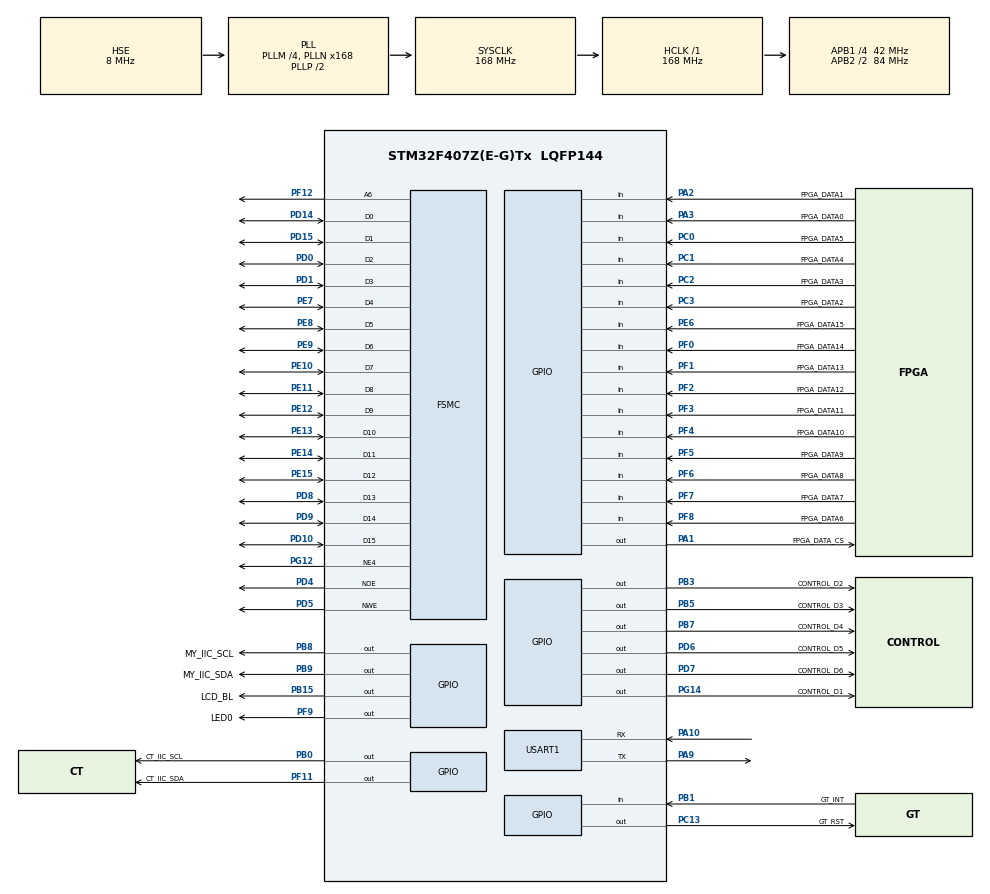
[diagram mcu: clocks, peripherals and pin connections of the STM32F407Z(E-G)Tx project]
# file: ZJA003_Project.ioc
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FSMC.AddressSetupTime4=2
FSMC.DataSetupTime4=5
FSMC.ExtendedAddressSetupTime4=0
FSMC.ExtendedDataSetupTime4=3
FSMC.ExtendedMode4=FSMC_EXTENDED_MODE_ENABLE
Mcu.Family=STM32F4
Mcu.Name=STM32F407Z(E-G)Tx
Mcu.Package=LQFP144
NVIC.PriorityGroup=NVIC_PRIORITYGROUP_4
NVIC.TIM3_IRQn=true\:1\:0\:true\:false\:true\:true\:true
NVIC.TIM4_IRQn=true\:2\:0\:true\:false\:true\:true\:true
NVIC.TIM5_IRQn=true\:3\:0\:true\:false\:true\:true\:true
PA1.GPIO_Label=FPGA_DATA_CS
PA1.GPIO_PuPd=GPIO_PULLUP
PA1.GPIO_Speed=GPIO_SPEED_FREQ_VERY_HIGH
PA1.PinState=GPIO_PIN_SET
PA1.Signal=GPIO_Output
PA10.Mode=Asynchronous
PA10.Signal=USART1_RX
PA13.Mode=Serial_Wire
PA13.Signal=SYS_JTMS-SWDIO
PA14.Mode=Serial_Wire
PA14.Signal=SYS_JTCK-SWCLK
PA2.GPIO_Label=FPGA_DATA1
PA2.Signal=GPIO_Input
PA3.GPIO_Label=FPGA_DATA0
PA3.Signal=GPIO_Input
PA9.Mode=Asynchronous
PA9.Signal=USART1_TX
PB0.GPIO_Label=CT_IIC_SCL
PB0.GPIO_PuPd=GPIO_PULLUP
PB0.GPIO_Speed=GPIO_SPEED_FREQ_VERY_HIGH
PB0.PinState=GPIO_PIN_SET
PB0.Signal=GPIO_Output
PB1.GPIO_Label=GT_INT
PB1.GPIO_PuPd=GPIO_PULLUP
PB1.Signal=GPIO_Input
PB15.GPIO_Label=LCD_BL
PB15.Signal=GPIO_Output
PB3.GPIO_Label=CONTROL_D2
PB3.PinState=GPIO_PIN_SET
PB3.Signal=GPIO_Output
PB5.GPIO_Label=CONTROL_D3
PB5.Signal=GPIO_Output
PB7.GPIO_Label=CONTROL_D4
PB7.PinState=GPIO_PIN_SET
PB7.Signal=GPIO_Output
PB8.GPIO_Label=MY_IIC_SCL
PB8.GPIO_PuPd=GPIO_PULLUP
PB8.GPIO_Speed=GPIO_SPEED_FREQ_HIGH
PB8.PinState=GPIO_PIN_SET
PB8.Signal=GPIO_Output
PB9.GPIO_Label=MY_IIC_SDA
PB9.GPIO_PuPd=GPIO_PULLUP
PB9.GPIO_Speed=GPIO_SPEED_FREQ_HIGH
PB9.PinState=GPIO_PIN_SET
PB9.Signal=GPIO_Output
PC0.GPIO_Label=FPGA_DATA5
PC0.Signal=GPIO_Input
PC1.GPIO_Label=FPGA_DATA4
PC1.Signal=GPIO_Input
PC13-ANTI_TAMP.GPIO_Label=GT_RST
PC13-ANTI_TAMP.GPIO_PuPd=GPIO_PULLUP
PC13-ANTI_TAMP.GPIO_Speed=GPIO_SPEED_FREQ_LOW
PC13-ANTI_TAMP.PinState=GPIO_PIN_RESET
PC13-ANTI_TAMP.Signal=GPIO_Output
PC2.GPIO_Label=FPGA_DATA3
PC2.Signal=GPIO_Input
PC3.GPIO_Label=FPGA_DATA2
PC3.Signal=GPIO_Input
PD0.Signal=FSMC_D2_DA2
PD1.Signal=FSMC_D3_DA3
PD10.Signal=FSMC_D15_DA15
PD14.Signal=FSMC_D0_DA0
PD15.Signal=FSMC_D1_DA1
PD4.Signal=FSMC_NOE
PD5.Signal=FSMC_NWE
PD6.GPIO_Label=CONTROL_D5
PD6.PinState=GPIO_PIN_SET
PD6.Signal=GPIO_Output
PD7.GPIO_Label=CONTROL_D6
PD7.Signal=GPIO_Output
PD8.Signal=FSMC_D13_DA13
PD9.Signal=FSMC_D14_DA14
PE10.Signal=FSMC_D7_DA7
PE11.Signal=FSMC_D8_DA8
PE12.Signal=FSMC_D9_DA9
PE13.Signal=FSMC_D10_DA10
PE14.Signal=FSMC_D11_DA11
PE15.Signal=FSMC_D12_DA12
PE6.GPIO_Label=FPGA_DATA15
PE6.Signal=GPIO_Input
PE7.Signal=FSMC_D4_DA4
PE8.Signal=FSMC_D5_DA5
PE9.Signal=FSMC_D6_DA6
PF0.GPIO_Label=FPGA_DATA14
PF0.Signal=GPIO_Input
PF1.GPIO_Label=FPGA_DATA13
PF1.Signal=GPIO_Input
PF11.GPIO_Label=CT_IIC_SDA
PF11.GPIO_ModeDefaultOutputPP=GPIO_MODE_OUTPUT_PP
PF11.GPIO_PuPd=GPIO_PULLUP
PF11.GPIO_Speed=GPIO_SPEED_FREQ_VERY_HIGH
PF11.PinState=GPIO_PIN_SET
PF11.Signal=GPIO_Output
PF12.Signal=FSMC_A6
PF2.GPIO_Label=FPGA_DATA12
PF2.Signal=GPIO_Input
PF3.GPIO_Label=FPGA_DATA11
PF3.Signal=GPIO_Input
PF4.GPIO_Label=FPGA_DATA10
PF4.Signal=GPIO_Input
PF5.GPIO_Label=FPGA_DATA9
PF5.Signal=GPIO_Input
PF6.GPIO_Label=FPGA_DATA8
PF6.Signal=GPIO_Input
PF7.GPIO_Label=FPGA_DATA7
PF7.Signal=GPIO_Input
PF8.GPIO_Label=FPGA_DATA6
PF8.Signal=GPIO_Input
PF9.GPIO_Label=LED0
PF9.PinState=GPIO_PIN_SET
PF9.Signal=GPIO_Output
PG12.Mode=NorPsramChipSelect4_4
PG12.Signal=FSMC_NE4
PG14.GPIO_Label=CONTROL_D1
PG14.PinState=GPIO_PIN_SET
PG14.Signal=GPIO_Output
PH0-OSC_IN.Mode=HSE-External-Oscillator
PH0-OSC_IN.Signal=RCC_OSC_IN
PH1-OSC_OUT.Mode=HSE-External-Oscillator
PH1-OSC_OUT.Signal=RCC_OSC_OUT
ProjectManager.HeapSize=0x200
ProjectManager.StackSize=0x400
ProjectManager.TargetToolchain=SW4STM32
RCC.48MHZClocksFreq_Value=84000000
RCC.AHBFreq_Value=168000000
RCC.APB1CLKDivider=RCC_HCLK_DIV4
RCC.APB1Freq_Value=42000000
RCC.APB1TimFreq_Value=84000000
RCC.APB2CLKDivider=RCC_HCLK_DIV2
RCC.APB2Freq_Value=84000000
RCC.APB2TimFreq_Value=168000000
RCC.CortexFreq_Value=168000000
RCC.HCLKFreq_Value=168000000
RCC.HSE_VALUE=8000000
RCC.HSI_VALUE=16000000
RCC.LSE_VALUE=32768
RCC.PLLM=4
RCC.PLLN=168
RCC.PLLSourceVirtual=RCC_PLLSOURCE_HSE
RCC.SYSCLKFreq_VALUE=168000000
RCC.SYSCLKSource=RCC_SYSCLKSOURCE_PLLCLK
RCC.VCOOutputFreq_Value=336000000
SH.FSMC_A6.0=FSMC_A6,A6_4
SH.FSMC_D0_DA0.0=FSMC_D0,16b-d4
SH.FSMC_D10_DA10.0=FSMC_D10,16b-d4
SH.FSMC_D11_DA11.0=FSMC_D11,16b-d4
SH.FSMC_D12_DA12.0=FSMC_D12,16b-d4
SH.FSMC_D13_DA13.0=FSMC_D13,16b-d4
SH.FSMC_D14_DA14.0=FSMC_D14,16b-d4
SH.FSMC_D15_DA15.0=FSMC_D15,16b-d4
SH.FSMC_D1_DA1.0=FSMC_D1,16b-d4
SH.FSMC_D2_DA2.0=FSMC_D2,16b-d4
SH.FSMC_D3_DA3.0=FSMC_D3,16b-d4
SH.FSMC_D4_DA4.0=FSMC_D4,16b-d4
SH.FSMC_D5_DA5.0=FSMC_D5,16b-d4
SH.FSMC_D6_DA6.0=FSMC_D6,16b-d4
SH.FSMC_D7_DA7.0=FSMC_D7,16b-d4
SH.FSMC_D8_DA8.0=FSMC_D8,16b-d4
SH.FSMC_D9_DA9.0=FSMC_D9,16b-d4
SH.FSMC_NOE.0=FSMC_NOE,Lcd4
SH.FSMC_NWE.0=FSMC_NWE,Lcd4
TIM3.AutoReloadPreload=TIM_AUTORELOAD_PRELOAD_ENABLE
TIM3.Period=999
TIM3.Prescaler=83
TIM4.AutoReloadPreload=TIM_AUTORELOAD_PRELOAD_ENABLE
TIM4.Period=999
TIM4.Prescaler=839
TIM5.AutoReloadPreload=TIM_AUTORELOAD_PRELOAD_ENABLE
TIM5.Period=8399
TIM5.Prescaler=4999
TIM6.AutoReloadPreload=TIM_AUTORELOAD_PRELOAD_ENABLE
TIM6.Prescaler=83
USART1.VirtualMode=VM_ASYNC
VP_CRC_VS_CRC.Mode=CRC_Activate
VP_TIM3_VS_ClockSourceINT.Mode=Internal
VP_TIM4_VS_ClockSourceINT.Mode=Internal
VP_TIM5_VS_ClockSourceINT.Mode=Internal
VP_TIM6_VS_ClockSourceINT.Mode=Enable_Timer
board=custom

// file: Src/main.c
/* USER CODE BEGIN Header */
/**
  ******************************************************************************
  * @file           : main.c
  * @brief          : Main program body
  ******************************************************************************
  * @attention
  *
  * <h2><center>&copy; Copyright (c) 2020 STMicroelectronics.
  * All rights reserved.</center></h2>
  *
  * This software component is licensed by ST under BSD 3-Clause license,
  * the "License"; You may not use this file except in compliance with the
  * License. You may obtain a copy of the License at:
  *                        opensource.org/licenses/BSD-3-Clause
  *
  ******************************************************************************
  */
/* USER CODE END Header */
#include "main.h"
#include "crc.h"
#include "tim.h"
#include "usart.h"
#include "gpio.h"
#include "fsmc.h"

/* USER CODE BEGIN Includes */
#include <stdio.h>
#include "retarget.h"
#include "ILI93xx.h"
#include "GUI.h"
#include "touch.h"
#include "emwinDemo.h"
#include "DIALOG.h"
#include "FFT.h"
#include "ParallelCommunication.h"
/* USER CODE END Includes */

/* USER CODE BEGIN PV */
extern WM_HWIN hWin_user;//�Ի���
/* USER CODE END PV */

void SystemClock_Config(void);

int main(void)
{
  /* USER CODE BEGIN 1 */
    WM_MESSAGE message;
    message.MsgId = WM_SHOW_MSG;
  /* USER CODE END 1 */

  /* MCU Configuration--------------------------------------------------------*/

  /* Reset of all peripherals, Initializes the Flash interface and the Systick. */
  HAL_Init();

  /* Configure the system clock */
  SystemClock_Config();

  /* Initialize all configured peripherals */
  MX_GPIO_Init();
  MX_USART1_UART_Init();
  MX_FSMC_Init();
  MX_CRC_Init();
  MX_TIM4_Init();
  MX_TIM5_Init();
  MX_TIM3_Init();
  MX_TIM6_Init();
  /* USER CODE BEGIN 2 */
    RetargetInit(&huart1);
    TFTLCD_Init();
    TP_Init();

    FFT_Init();

    WM_SetCreateFlags(WM_CF_MEMDEV);
    GUI_Init();

    HAL_TIM_Base_Start_IT(&htim3);
    HAL_TIM_Base_Start_IT(&htim4);
    HAL_TIM_Base_Start_IT(&htim5);
    HAL_TIM_Base_Start_IT(&htim6);

    emwinDemo();

  /* USER CODE END 2 */

  /* Infinite loop */
  while (1)
  {

    /* USER CODE BEGIN 3 */
      GUI_Delay(100);
      getWaveData();
      FFT_Process();
      WM_SendMessage(WM_GetClientWindow(hWin_user), &message);//������Ϣ������
  }
  /* USER CODE END 3 */
}

void SystemClock_Config(void)
{
  RCC_OscInitTypeDef RCC_OscInitStruct = {0};
  RCC_ClkInitTypeDef RCC_ClkInitStruct = {0};

  /** Configure the main internal regulator output voltage
  */
  __HAL_RCC_PWR_CLK_ENABLE();
  __HAL_PWR_VOLTAGESCALING_CONFIG(PWR_REGULATOR_VOLTAGE_SCALE1);
  /** Initializes the RCC Oscillators according to the specified parameters
  * in the RCC_OscInitTypeDef structure.
  */
  RCC_OscInitStruct.OscillatorType = RCC_OSCILLATORTYPE_HSE;
  RCC_OscInitStruct.HSEState = RCC_HSE_ON;
  RCC_OscInitStruct.PLL.PLLState = RCC_PLL_ON;
  RCC_OscInitStruct.PLL.PLLSource = RCC_PLLSOURCE_HSE;
  RCC_OscInitStruct.PLL.PLLM = 4;
  RCC_OscInitStruct.PLL.PLLN = 168;
  RCC_OscInitStruct.PLL.PLLP = RCC_PLLP_DIV2;
  RCC_OscInitStruct.PLL.PLLQ = 4;
  if (HAL_RCC_OscConfig(&RCC_OscInitStruct) != HAL_OK)
  {
    Error_Handler();
  }
  /** Initializes the CPU, AHB and APB buses clocks
  */
  RCC_ClkInitStruct.ClockType = RCC_CLOCKTYPE_HCLK|RCC_CLOCKTYPE_SYSCLK
                              |RCC_CLOCKTYPE_PCLK1|RCC_CLOCKTYPE_PCLK2;
  RCC_ClkInitStruct.SYSCLKSource = RCC_SYSCLKSOURCE_PLLCLK;
  RCC_ClkInitStruct.AHBCLKDivider = RCC_SYSCLK_DIV1;
  RCC_ClkInitStruct.APB1CLKDivider = RCC_HCLK_DIV4;
  RCC_ClkInitStruct.APB2CLKDivider = RCC_HCLK_DIV2;

  if (HAL_RCC_ClockConfig(&RCC_ClkInitStruct, FLASH_LATENCY_5) != HAL_OK)
  {
    Error_Handler();
  }
}

void Error_Handler(void)
{
}

/************************ (C) COPYRIGHT STMicroelectronics *****END OF FILE****/
